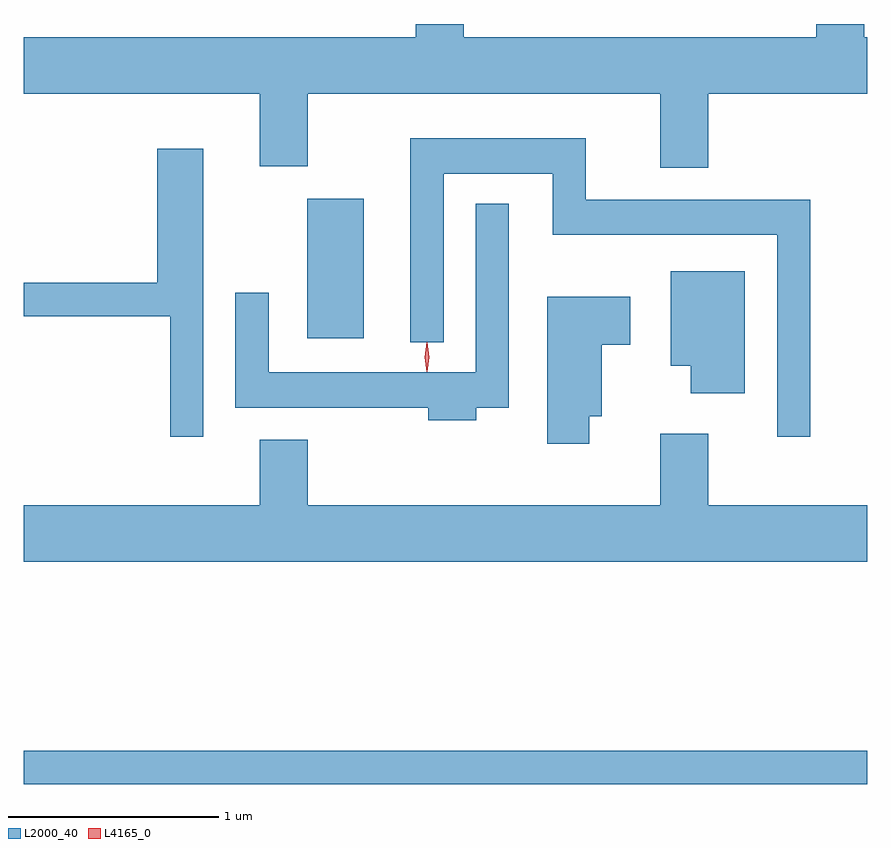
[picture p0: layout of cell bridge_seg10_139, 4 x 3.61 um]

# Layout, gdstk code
import gdstk
lib = gdstk.Library(unit=1e-6, precision=1e-09)
def R(c, l, rs):  # rectangles x0, y0, x1, y1
    for r in rs: c.add(gdstk.rectangle(r[:2], r[2:], *l))
def P(c, l, *ps):  # polygons
    for p in ps: c.add(gdstk.Polygon(p, *l))
L2000_40 = (2000, 40)
L4165_0 = (4165, 0)

bridge_seg10_139 = lib.new_cell('bridge_seg10_139')
R(bridge_seg10_139, L2000_40, [(1655.443,2097.321,1659.443,2097.479), (1656.786,2099.436,1657.054,2100.099)])
P(bridge_seg10_139, L2000_40, [(1658.689,2100.596),(1659.443,2100.596),(1659.443,2100.864),(1659.429,2100.864),(1659.429,2100.927),(1659.201,2100.927),(1659.201,2100.864),(1657.529,2100.864),(1657.529,2100.927),(1657.301,2100.927),(1657.301,2100.864),(1655.443,2100.864),(1655.443,2100.596),(1656.561,2100.596),(1656.561,2100.251),(1656.789,2100.251),(1656.789,2100.596),(1658.461,2100.596),(1658.461,2100.246),(1658.689,2100.246)],
  [(1659.174,2100.094),(1658.109,2100.094),(1658.109,2100.384),(1657.276,2100.384),(1657.276,2099.418),(1657.434,2099.418),(1657.434,2100.216),(1657.951,2100.216),(1657.951,2099.926),(1659.016,2099.926),(1659.016,2098.968),(1659.174,2098.968)],
  [(1656.294,2100.334),(1656.076,2100.334),(1656.076,2099.699),(1655.443,2099.699),(1655.443,2099.541),(1656.136,2099.541),(1656.136,2098.968),(1656.294,2098.968)],
  [(1657.589,2099.106),(1657.744,2099.106),(1657.744,2100.073),(1657.586,2100.073),(1657.586,2099.274),(1656.604,2099.274),(1656.604,2099.653),(1656.446,2099.653),(1656.446,2099.106),(1657.361,2099.106),(1657.361,2099.046),(1657.589,2099.046)],
  [(1658.864,2099.754),(1658.511,2099.754),(1658.511,2099.306),(1658.606,2099.306),(1658.606,2099.176),(1658.864,2099.176)],
  [(1658.124,2099.066),(1658.184,2099.066),(1658.184,2099.406),(1658.319,2099.406),(1658.319,2099.634),(1657.926,2099.634),(1657.926,2098.936),(1658.124,2098.936)],
  [(1659.443,2098.644),(1658.689,2098.644),(1658.689,2098.984),(1658.461,2098.984),(1658.461,2098.644),(1656.789,2098.644),(1656.789,2098.954),(1656.561,2098.954),(1656.561,2098.644),(1655.443,2098.644),(1655.443,2098.376),(1659.443,2098.376)])
P(bridge_seg10_139, L4165_0, [(1657.355,2099.279),(1657.354,2099.28),(1657.345,2099.346),(1657.354,2099.412),(1657.355,2099.413),(1657.355,2099.412),(1657.365,2099.346),(1657.355,2099.28)],
  [(1657.354,2099.277),(1657.345,2099.346),(1657.354,2099.416),(1657.355,2099.416),(1657.356,2099.416),(1657.365,2099.346),(1657.356,2099.277),(1657.355,2099.277)])

lib.write_gds('bridge_seg10_139.gds')
